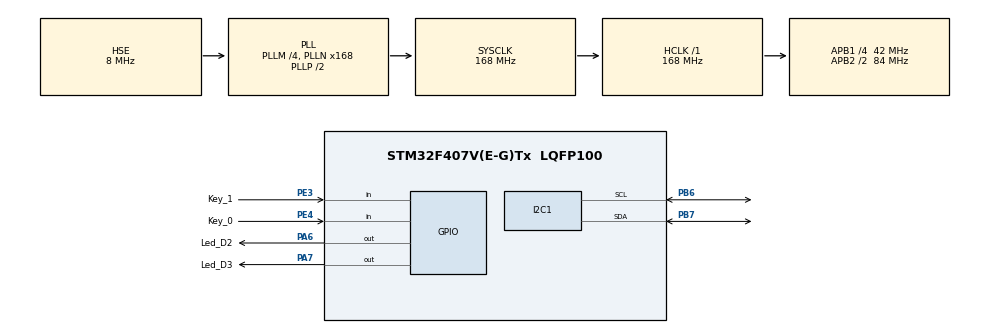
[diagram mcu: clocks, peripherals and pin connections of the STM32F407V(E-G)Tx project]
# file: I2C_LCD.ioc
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Mcu.Family=STM32F4
Mcu.Name=STM32F407V(E-G)Tx
Mcu.Package=LQFP100
NVIC.PriorityGroup=NVIC_PRIORITYGROUP_4
PA13.Mode=Serial_Wire
PA13.Signal=SYS_JTMS-SWDIO
PA14.Mode=Serial_Wire
PA14.Signal=SYS_JTCK-SWCLK
PA6.GPIO_Label=Led_D2
PA6.PinState=GPIO_PIN_SET
PA6.Signal=GPIO_Output
PA7.GPIO_Label=Led_D3
PA7.PinState=GPIO_PIN_SET
PA7.Signal=GPIO_Output
PB6.Mode=I2C
PB6.Signal=I2C1_SCL
PB7.Mode=I2C
PB7.Signal=I2C1_SDA
PE3.GPIO_Label=Key_1
PE3.GPIO_PuPd=GPIO_PULLUP
PE3.Signal=GPIO_Input
PE4.GPIO_Label=Key_0
PE4.GPIO_PuPd=GPIO_PULLUP
PE4.Signal=GPIO_Input
PH0-OSC_IN.Mode=HSE-External-Oscillator
PH0-OSC_IN.Signal=RCC_OSC_IN
PH1-OSC_OUT.Mode=HSE-External-Oscillator
PH1-OSC_OUT.Signal=RCC_OSC_OUT
ProjectManager.HeapSize=0x200
ProjectManager.StackSize=0x400
ProjectManager.TargetToolchain=MDK-ARM V5.32
RCC.48MHZClocksFreq_Value=84000000
RCC.AHBFreq_Value=168000000
RCC.APB1CLKDivider=RCC_HCLK_DIV4
RCC.APB1Freq_Value=42000000
RCC.APB1TimFreq_Value=84000000
RCC.APB2CLKDivider=RCC_HCLK_DIV2
RCC.APB2Freq_Value=84000000
RCC.APB2TimFreq_Value=168000000
RCC.CortexFreq_Value=168000000
RCC.HCLKFreq_Value=168000000
RCC.HSE_VALUE=8000000
RCC.HSI_VALUE=16000000
RCC.LSE_VALUE=32768
RCC.PLLM=4
RCC.PLLN=168
RCC.PLLSourceVirtual=RCC_PLLSOURCE_HSE
RCC.SYSCLKFreq_VALUE=168000000
RCC.SYSCLKSource=RCC_SYSCLKSOURCE_PLLCLK
RCC.VCOOutputFreq_Value=336000000
board=custom

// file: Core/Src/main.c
/* USER CODE BEGIN Header */
/**
  ******************************************************************************
  * @file           : main.c
  * @brief          : Main program body
  ******************************************************************************
  * @attention
  *
  * Copyright (c) 2023 STMicroelectronics.
  * All rights reserved.
  *
  * This software is licensed under terms that can be found in the LICENSE file
  * in the root directory of this software component.
  * If no LICENSE file comes with this software, it is provided AS-IS.
  *
  ******************************************************************************
  */
/* USER CODE END Header */
#include "main.h"
#include "i2c.h"
#include "gpio.h"

/* USER CODE BEGIN Includes */
#include <stdio.h>
#include "i2c-lcd.h"
/* USER CODE END Includes */

/* USER CODE BEGIN PD */
#define ADDRESS_SLAVE_DHT20 0X38

/* USER CODE END PD */

void SystemClock_Config(void);
/* USER CODE BEGIN PFP */
float RH,Temp =0 ;
unsigned char CheckCrc8(unsigned char *pDat,unsigned char Lenth)
{
	unsigned char crc = 0xff,i,j;

	for (i=0;i < Lenth ;i++)
	{
		crc = crc ^ *pDat;
		for (j=0;j<8;j++)
		{
			if (crc & 0x80) crc =(crc <<1) ^ 0x31;
			else crc <<= 1;
		}
		pDat++;
	}
 return crc;
}

uint8_t read_register(uint8_t register_pointer)
{
	HAL_StatusTypeDef status =HAL_OK;
	uint8_t return_value =0;

	status = HAL_I2C_Mem_Read(&hi2c1, ADDRESS_SLAVE_DHT20 << 1,(uint16_t)register_pointer, I2C_MEMADD_SIZE_8BIT, & return_value	,1,100);

	if (status != HAL_OK)
	{

	}
	printf("return_value for  %X : %X\n",register_pointer, return_value);
	return return_value;
}

/* USER CODE END PFP */

/* USER CODE BEGIN 0 */
void trigger_measurement_data_dht20()
{
	HAL_Delay(100);
	uint8_t status =read_register (0x71);
	if(status && 0x18 == 0x18)
	{
		HAL_Delay(10);
		uint8_t data_t[3];
		data_t[0] =0xAC;
		data_t[1] =0x33;
		data_t[2] =0x00;
		HAL_I2C_Master_Transmit (&hi2c1, ADDRESS_SLAVE_DHT20 <<1, (uint8_t*) data_t,3,100);

		HAL_Delay(80);
		uint8_t buffer[7];
		uint32_t data_read =0;

	  HAL_I2C_Master_Receive(&hi2c1, ADDRESS_SLAVE_DHT20 << 1, buffer, 7, 100);
		for (int i =0; i<7;i++)
		{
			printf("bufffer %d: %X \n",i, buffer[i]);
		}

			// Check Bit[7] = 0 at Byte0
		if ((buffer[0] & 0x80) == 0x00)
		{
				// Bu?c 4:
				// Check CRC buffer[0] vs buffer[6]
				if(CheckCrc8(&buffer[0],6)==buffer[6])
				{
					// Bu?c 5:
					printf("CRC OK \n");
					data_read=buffer[1]; //0x90
					data_read=data_read<<8;// 0x9000
					data_read+=buffer[2]; //0x9000 + 0x28 => 0x9028
					data_read=data_read<<8; //0x902800
					data_read+=buffer[3]; //0x902800 + 0x96 => 0x902896
					data_read=data_read>>4;				 // 0x902896 => 0x90289

					RH = (float)data_read*100/1048576;
					printf("RH %0.1f%% \n", RH);

					data_read=buffer[3]&0x0F;
					data_read=data_read<<8;
					data_read+=buffer[4];
					data_read=data_read<<8;
					data_read+=buffer[5];

					Temp = (float)data_read*200/1048576-50;
					printf("Temp %0.1f \n", Temp);
				}
				else
				{
					printf("CRC fail \n");
				}
		}
		else
		{
			printf("Check Bit[7] at Byte0: %x \n",buffer[0]&0x80);
		}

		}

	else //  initialize the 0x1B, 0x1C, 0x1E registers
	{

	}
}

/* USER CODE END 0 */

int main(void)
{

  /* MCU Configuration--------------------------------------------------------*/

  /* Reset of all peripherals, Initializes the Flash interface and the Systick. */
  HAL_Init();

  /* Configure the system clock */
  SystemClock_Config();

  /* Initialize all configured peripherals */
  MX_GPIO_Init();
  MX_I2C1_Init();
  /* USER CODE BEGIN 2 */
		lcd_send_cmd (0X40 );
		lcd_send_data (0x1F );
		lcd_send_data(0x0F );
		lcd_send_data(0x07 );
		lcd_send_data(0x03 );
	  lcd_send_data	(0x03 );
		lcd_send_data(0x07 );
		lcd_send_data(0x0F );
		lcd_send_data(0x1F );

		lcd_send_cmd (0X40 +8);// 0X40 LA LENH , 0X00 LA DIA CHI

	  lcd_send_data (0x01);
	  lcd_send_data (0x08);
	  lcd_send_data (0x04);
		lcd_send_data (0x03);
		lcd_send_data (0x03);
	  lcd_send_data (0x04);
	  lcd_send_data (0x08);
		lcd_send_data (0x10);

	// code scan tim dia chi I2C( thiet bi ket noi), ney khong biet dia chi do la bao nhieu
	int ret = 0;
	for(int i=1; i<128; i++)
	{
			ret = HAL_I2C_IsDeviceReady(&hi2c1, (uint16_t)(i<<1), 3, 5);
			if (ret != HAL_OK) /* No ACK Received At That Address */
			{
					printf("khong co tai dia chi 0x%X \n",i);
			}
			else if(ret == HAL_OK)
			{
					printf("dia chi 0x%X \n",i);
					//break;
			}
			HAL_Delay(100);
	}

		char string_lcd[20];
		int count =0;
		lcd_clear ();
		int status_button =0;
		HAL_Delay(1000);
		lcd_init ();
  /* USER CODE END 2 */

  /* Infinite loop */
  while (1)
  {

    /* USER CODE BEGIN 3 */
			char buffer[20];

			lcd_put_cur(0,0); // VI TRI HANG0 COT 0
			sprintf(buffer, "SO: %d ", count);
			lcd_send_string(buffer);

			lcd_put_cur(0, 10);

			HAL_Delay(100);
			if (HAL_GPIO_ReadPin(Key_0_GPIO_Port,Key_0_Pin) ==0)
			{
				HAL_Delay(100);
				if(HAL_GPIO_ReadPin(Key_0_GPIO_Port,Key_0_Pin) ==0)
				{
					count = count +1 ;
					if(count ==20)
					{
						count =98;
					}

				}

			}

			if (HAL_GPIO_ReadPin(Key_1_GPIO_Port,Key_1_Pin) ==0)
			{
				HAL_Delay(100);
				if(HAL_GPIO_ReadPin(Key_1_GPIO_Port,Key_1_Pin) ==0)
				{
					count = count -1 ;
					if (count <0)
					{
						count =0;

					}
				}
			}

		 //CODE NHIET DO , DO AM

//		trigger_measurement_data_dht20();
//		char buffer[20];
//		sprintf (buffer, "Humi: %0.1f%%", RH);
//		lcd_put_cur(0,0);
//		lcd_send_string (buffer);
//
//		sprintf (buffer, "Temp: %0.1f  C", Temp);
//		lcd_put_cur(1,0);
//		lcd_send_string (buffer);
//		HAL_Delay(1000);
//

  }
  /* USER CODE END 3 */
}

void SystemClock_Config(void)
{
  RCC_OscInitTypeDef RCC_OscInitStruct = {0};
  RCC_ClkInitTypeDef RCC_ClkInitStruct = {0};

  /** Configure the main internal regulator output voltage
  */
  __HAL_RCC_PWR_CLK_ENABLE();
  __HAL_PWR_VOLTAGESCALING_CONFIG(PWR_REGULATOR_VOLTAGE_SCALE1);

  /** Initializes the RCC Oscillators according to the specified parameters
  * in the RCC_OscInitTypeDef structure.
  */
  RCC_OscInitStruct.OscillatorType = RCC_OSCILLATORTYPE_HSE;
  RCC_OscInitStruct.HSEState = RCC_HSE_ON;
  RCC_OscInitStruct.PLL.PLLState = RCC_PLL_ON;
  RCC_OscInitStruct.PLL.PLLSource = RCC_PLLSOURCE_HSE;
  RCC_OscInitStruct.PLL.PLLM = 4;
  RCC_OscInitStruct.PLL.PLLN = 168;
  RCC_OscInitStruct.PLL.PLLP = RCC_PLLP_DIV2;
  RCC_OscInitStruct.PLL.PLLQ = 4;
  if (HAL_RCC_OscConfig(&RCC_OscInitStruct) != HAL_OK)
  {
    Error_Handler();
  }

  /** Initializes the CPU, AHB and APB buses clocks
  */
  RCC_ClkInitStruct.ClockType = RCC_CLOCKTYPE_HCLK|RCC_CLOCKTYPE_SYSCLK
                              |RCC_CLOCKTYPE_PCLK1|RCC_CLOCKTYPE_PCLK2;
  RCC_ClkInitStruct.SYSCLKSource = RCC_SYSCLKSOURCE_PLLCLK;
  RCC_ClkInitStruct.AHBCLKDivider = RCC_SYSCLK_DIV1;
  RCC_ClkInitStruct.APB1CLKDivider = RCC_HCLK_DIV4;
  RCC_ClkInitStruct.APB2CLKDivider = RCC_HCLK_DIV2;

  if (HAL_RCC_ClockConfig(&RCC_ClkInitStruct, FLASH_LATENCY_5) != HAL_OK)
  {
    Error_Handler();
  }
}

void Error_Handler(void)
{
  __disable_irq();
  while (1)
  {
  }
}
